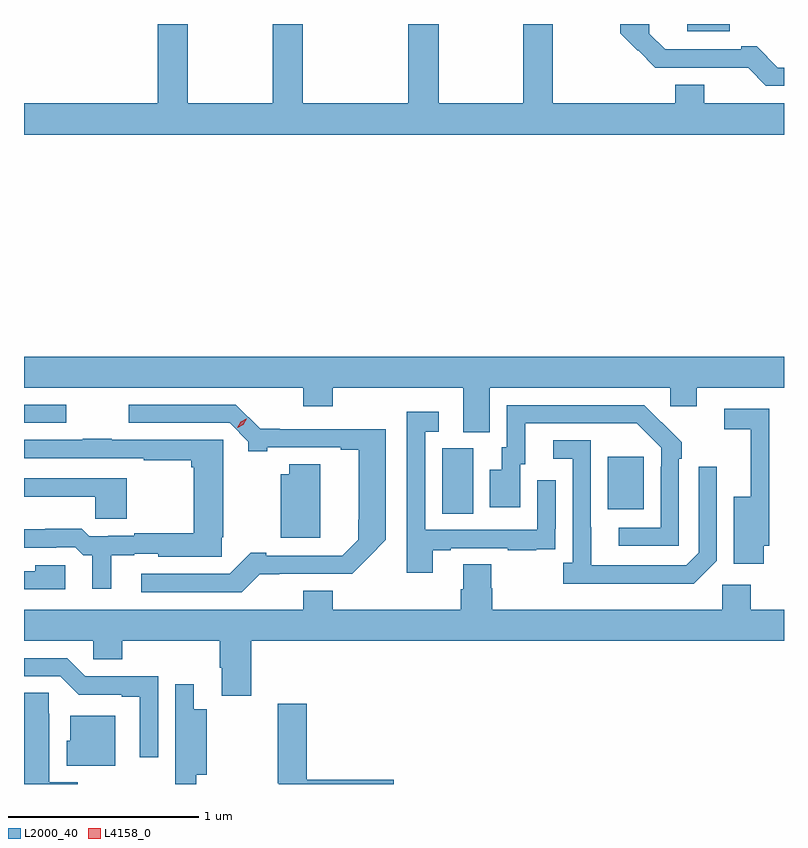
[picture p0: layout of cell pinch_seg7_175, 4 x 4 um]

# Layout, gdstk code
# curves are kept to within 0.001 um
import gdstk
lib = gdstk.Library(unit=1e-6, precision=1e-09)
def R(c, l, rs):  # rectangles x0, y0, x1, y1
    for r in rs: c.add(gdstk.rectangle(r[:2], r[2:], *l))
def P(c, l, *ps):  # polygons
    for p in ps: c.add(gdstk.Polygon(p, *l))
L2000_40 = (2000, 40)
L4158_0 = (4158, 0)

pinch_seg7_175 = lib.new_cell('pinch_seg7_175')
R(pinch_seg7_175, L2000_40, [(1129.91,1013.272,1130.074,1013.616), (1130.783,1013.297,1130.971,1013.572), (1127.71,1013.751,1127.932,1013.847), (1131.2,1015.811,1131.424,1015.85)])
P(pinch_seg7_175, L2000_40, [(1131.71,1015.432),(1131.289,1015.432),(1131.289,1015.531),(1131.137,1015.531),(1131.137,1015.432),(1130.493,1015.432),(1130.493,1015.85),(1130.338,1015.85),(1130.338,1015.432),(1129.893,1015.432),(1129.893,1015.85),(1129.733,1015.85),(1129.733,1015.432),(1129.178,1015.432),(1129.178,1015.85),(1129.018,1015.85),(1129.018,1015.432),(1128.573,1015.432),(1128.573,1015.85),(1128.413,1015.85),(1128.413,1015.432),(1127.71,1015.432),(1127.71,1015.268),(1131.71,1015.268)],
  [(1131.71,1015.62),(1131.678,1015.62),(1131.566,1015.732),(1131.485,1015.732),(1131.485,1015.716),(1131.084,1015.716),(1131.001,1015.8),(1131.001,1015.85),(1130.848,1015.85),(1130.848,1015.802),(1130.941,1015.709),(1130.943,1015.711),(1131.033,1015.62),(1131.521,1015.619),(1131.615,1015.524),(1131.71,1015.524)],
  [(1130.161,1013.936),(1131.111,1013.936),(1131.111,1013.838),(1131.25,1013.838),(1131.25,1013.936),(1131.71,1013.936),(1131.71,1014.1),(1127.71,1014.1),(1127.71,1013.936),(1129.181,1013.936),(1129.181,1013.837),(1129.334,1013.837),(1129.334,1013.936),(1130.021,1013.936),(1130.021,1013.701),(1130.161,1013.701)],
  [(1128.95,1012.955),(1129.437,1012.956),(1129.615,1013.136),(1129.615,1013.718),(1129.057,1013.718),(1129.057,1013.72),(1128.953,1013.72),(1128.825,1013.847),(1128.261,1013.847),(1128.261,1013.751),(1128.792,1013.751),(1128.891,1013.652),(1128.891,1013.602),(1128.991,1013.602),(1128.991,1013.622),(1129.376,1013.622),(1129.376,1013.61),(1129.472,1013.61),(1129.472,1013.242),(1129.47,1013.242),(1129.47,1013.136),(1129.386,1013.052),(1128.985,1013.052),(1128.985,1013.068),(1128.904,1013.068),(1128.792,1012.956),(1128.327,1012.956),(1128.327,1012.86),(1128.855,1012.86)],
  [(1131.156,1013.561),(1131.171,1013.561),(1131.171,1013.649),(1130.974,1013.844),(1130.25,1013.844),(1130.25,1013.622),(1130.225,1013.622),(1130.225,1013.503),(1130.162,1013.503),(1130.162,1013.307),(1130.323,1013.307),(1130.323,1013.532),(1130.347,1013.532),(1130.347,1013.748),(1130.935,1013.748),(1131.063,1013.619),(1131.063,1013.519),(1131.06,1013.519),(1131.06,1013.199),(1130.841,1013.199),(1130.841,1013.103),(1131.156,1013.103)],
  [(1131.604,1013.105),(1131.633,1013.105),(1131.633,1013.826),(1131.396,1013.826),(1131.396,1013.718),(1131.536,1013.718),(1131.536,1013.362),(1131.446,1013.362),(1131.446,1013.01),(1131.604,1013.01)],
  [(1129.861,1013.079),(1129.957,1013.079),(1129.957,1013.091),(1130.257,1013.091),(1130.257,1013.079),(1130.405,1013.079),(1130.405,1013.085),(1130.507,1013.085),(1130.507,1013.194),(1130.508,1013.194),(1130.508,1013.449),(1130.412,1013.449),(1130.412,1013.187),(1129.821,1013.187),(1129.821,1013.703),(1129.894,1013.703),(1129.894,1013.809),(1129.725,1013.809),(1129.725,1012.962),(1129.861,1012.962)],
  [(1128.169,1013.054),(1128.291,1013.054),(1128.291,1013.061),(1128.417,1013.061),(1128.417,1013.045),(1128.75,1013.045),(1128.75,1013.149),(1128.759,1013.149),(1128.759,1013.661),(1128.173,1013.661),(1128.173,1013.666),(1128.019,1013.666),(1128.019,1013.661),(1127.71,1013.661),(1127.71,1013.565),(1128.34,1013.565),(1128.34,1013.553),(1128.59,1013.553),(1128.59,1013.517),(1128.604,1013.517),(1128.604,1013.17),(1128.291,1013.17),(1128.291,1013.157),(1128.154,1013.157),(1128.154,1013.154),(1128.054,1013.154),(1128.015,1013.194),(1127.821,1013.194),(1127.821,1013.191),(1127.71,1013.191),(1127.71,1013.094),(1127.879,1013.094),(1127.879,1013.097),(1127.979,1013.097),(1128.023,1013.054),(1128.068,1013.054),(1128.068,1012.878),(1128.169,1012.878)],
  [(1131.357,1013.025),(1131.357,1013.521),(1131.261,1013.521),(1131.261,1013.067),(1131.195,1013.001),(1130.695,1013.001),(1130.694,1013.658),(1130.496,1013.658),(1130.496,1013.562),(1130.598,1013.562),(1130.598,1013.014),(1130.547,1013.014),(1130.547,1012.904),(1131.236,1012.904)],
  [(1129.27,1013.533),(1129.105,1013.533),(1129.105,1013.479),(1129.061,1013.479),(1129.061,1013.147),(1129.27,1013.147)],
  [(1128.252,1013.46),(1127.71,1013.46),(1127.71,1013.363),(1128.086,1013.363),(1128.086,1013.247),(1128.252,1013.247)],
  [(1128.905,1012.604),(1131.71,1012.604),(1131.71,1012.768),(1131.536,1012.768),(1131.536,1012.9),(1131.384,1012.9),(1131.384,1012.768),(1130.174,1012.768),(1130.174,1012.881),(1130.169,1012.881),(1130.169,1013.006),(1130.021,1013.006),(1130.021,1012.874),(1130.009,1012.874),(1130.009,1012.768),(1129.334,1012.768),(1129.334,1012.867),(1129.181,1012.867),(1129.181,1012.768),(1127.71,1012.768),(1127.71,1012.604),(1128.075,1012.604),(1128.075,1012.506),(1128.227,1012.506),(1128.227,1012.604),(1128.74,1012.604),(1128.74,1012.462),(1128.752,1012.462),(1128.752,1012.314),(1128.905,1012.314)],
  [(1127.926,1013.002),(1127.77,1013.002),(1127.77,1012.971),(1127.71,1012.971),(1127.71,1012.875),(1127.926,1012.875)],
  [(1128.417,1012.416),(1128.033,1012.416),(1127.937,1012.512),(1127.71,1012.512),(1127.71,1012.416),(1127.901,1012.416),(1127.997,1012.32),(1128.224,1012.32),(1128.224,1012.308),(1128.32,1012.308),(1128.32,1011.99),(1128.417,1011.99)],
  [(1128.616,1011.899),(1128.672,1011.899),(1128.672,1012.243),(1128.604,1012.243),(1128.604,1012.375),(1128.506,1012.375),(1128.506,1012.139),(1128.505,1012.139),(1128.505,1011.85),(1128.616,1011.85)],
  [(1127.993,1011.858),(1127.842,1011.858),(1127.842,1012.22),(1127.841,1012.22),(1127.841,1012.331),(1127.71,1012.331),(1127.71,1011.85),(1127.993,1011.85)],
  [(1129.657,1011.872),(1129.199,1011.872),(1129.199,1012.273),(1129.045,1012.273),(1129.045,1011.855),(1129.052,1011.855),(1129.052,1011.85),(1129.657,1011.85)],
  [(1128.19,1012.21),(1127.954,1012.21),(1127.954,1012.077),(1127.936,1012.077),(1127.936,1011.947),(1128.19,1011.947)])
P(pinch_seg7_175, L4158_0, [(1128.833,1013.725),(1128.833,1013.725),(1128.85,1013.756),(1128.881,1013.772),(1128.882,1013.772),(1128.882,1013.772),(1128.865,1013.742),(1128.834,1013.725)])

lib.write_gds('pinch_seg7_175.gds')
